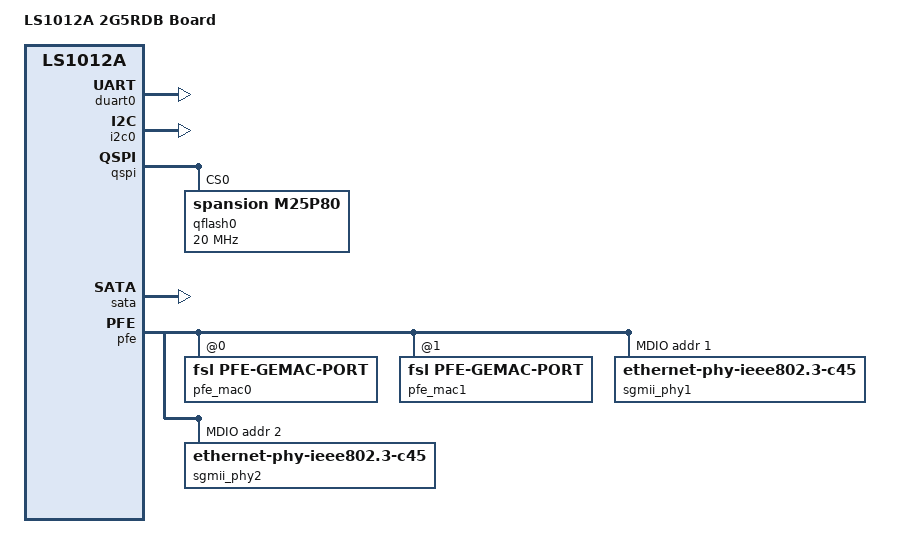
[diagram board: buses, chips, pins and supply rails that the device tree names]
/*
 * Device Tree file for NXP LS1012A 2G5RDB Board.
 *
 * Copyright 2017 NXP
 *
 * Bhaskar Upadhaya <bhaskar.upadhaya@nxp.com>
 *
 * This file is dual-licensed: you can use it either under the terms
 * of the GPLv2 or the X11 license, at your option. Note that this dual
 * licensing only applies to this file, and not this project as a
 * whole.
 *
 *  a) This library is free software; you can redistribute it and/or
 *     modify it under the terms of the GNU General Public License as
 *     published by the Free Software Foundation; either version 2 of the
 *     License, or (at your option) any later version.
 *
 *     This library is distributed in the hope that it will be useful,
 *     but WITHOUT ANY WARRANTY; without even the implied warranty of
 *     MERCHANTABILITY or FITNESS FOR A PARTICULAR PURPOSE.  See the
 *     GNU General Public License for more details.
 *
 * Or, alternatively,
 *
 *  b) Permission is hereby granted, free of charge, to any person
 *     obtaining a copy of this software and associated documentation
 *     files (the "Software"), to deal in the Software without
 *     restriction, including without limitation the rights to use,
 *     copy, modify, merge, publish, distribute, sublicense, and/or
 *     sell copies of the Software, and to permit persons to whom the
 *     Software is furnished to do so, subject to the following
 *     conditions:
 *
 *     The above copyright notice and this permission notice shall be
 *     included in all copies or substantial portions of the Software.
 *
 *     THE SOFTWARE IS PROVIDED "AS IS", WITHOUT WARRANTY OF ANY KIND,
 *     EXPRESS OR IMPLIED, INCLUDING BUT NOT LIMITED TO THE WARRANTIES
 *     OF MERCHANTABILITY, FITNESS FOR A PARTICULAR PURPOSE AND
 *     NONINFRINGEMENT. IN NO EVENT SHALL THE AUTHORS OR COPYRIGHT
 *     HOLDERS BE LIABLE FOR ANY CLAIM, DAMAGES OR OTHER LIABILITY,
 *     WHETHER IN AN ACTION OF CONTRACT, TORT OR OTHERWISE, ARISING
 *     FROM, OUT OF OR IN CONNECTION WITH THE SOFTWARE OR THE USE OR
 *     OTHER DEALINGS IN THE SOFTWARE.
 */
/dts-v1/;

#include "fsl-ls1012a.dtsi"

/ {
	model = "LS1012A 2G5RDB Board";
	compatible = "fsl,ls1012a-rdb", "fsl,ls1012a";

	aliases {
		ethernet0 = &pfe_mac0;
		ethernet1 = &pfe_mac1;
	};
};

&duart0 {
	status = "okay";
};

&i2c0 {
	status = "okay";
};

&qspi {
	num-cs = <2>;
	bus-num = <0>;
	status = "okay";

	qflash0: s25fs512s@0 {
		compatible = "spansion,m25p80";
		#address-cells = <1>;
		#size-cells = <1>;
		spi-max-frequency = <20000000>;
		m25p,fast-read;
		reg = <0>;
	};
};

&sata {
	status = "okay";
};

&pfe {
	status = "okay";
	#address-cells = <1>;
	#size-cells = <0>;

	pfe_mac0: ethernet@0 {
		compatible = "fsl,pfe-gemac-port";
		#address-cells = <1>;
		#size-cells = <0>;
		reg = <0x0>;	/* GEM_ID */
		fsl,mdio-mux-val = <0x0>;
		phy-mode = "sgmii-2500";
		phy-handle = <&sgmii_phy1>;
	};

	pfe_mac1: ethernet@1 {
		compatible = "fsl,pfe-gemac-port";
		#address-cells = <1>;
		#size-cells = <0>;
		reg = <0x1>;	/* GEM_ID */
		fsl,mdio-mux-val = <0x0>;
		phy-mode = "sgmii-2500";
		phy-handle = <&sgmii_phy2>;
	};

	mdio@0 {
		#address-cells = <1>;
		#size-cells = <0>;

		sgmii_phy1: ethernet-phy@1 {
			compatible = "ethernet-phy-ieee802.3-c45";
			reg = <0x1>;
		};

		sgmii_phy2: ethernet-phy@2 {
			compatible = "ethernet-phy-ieee802.3-c45";
			reg = <0x2>;
		};
	};
};
